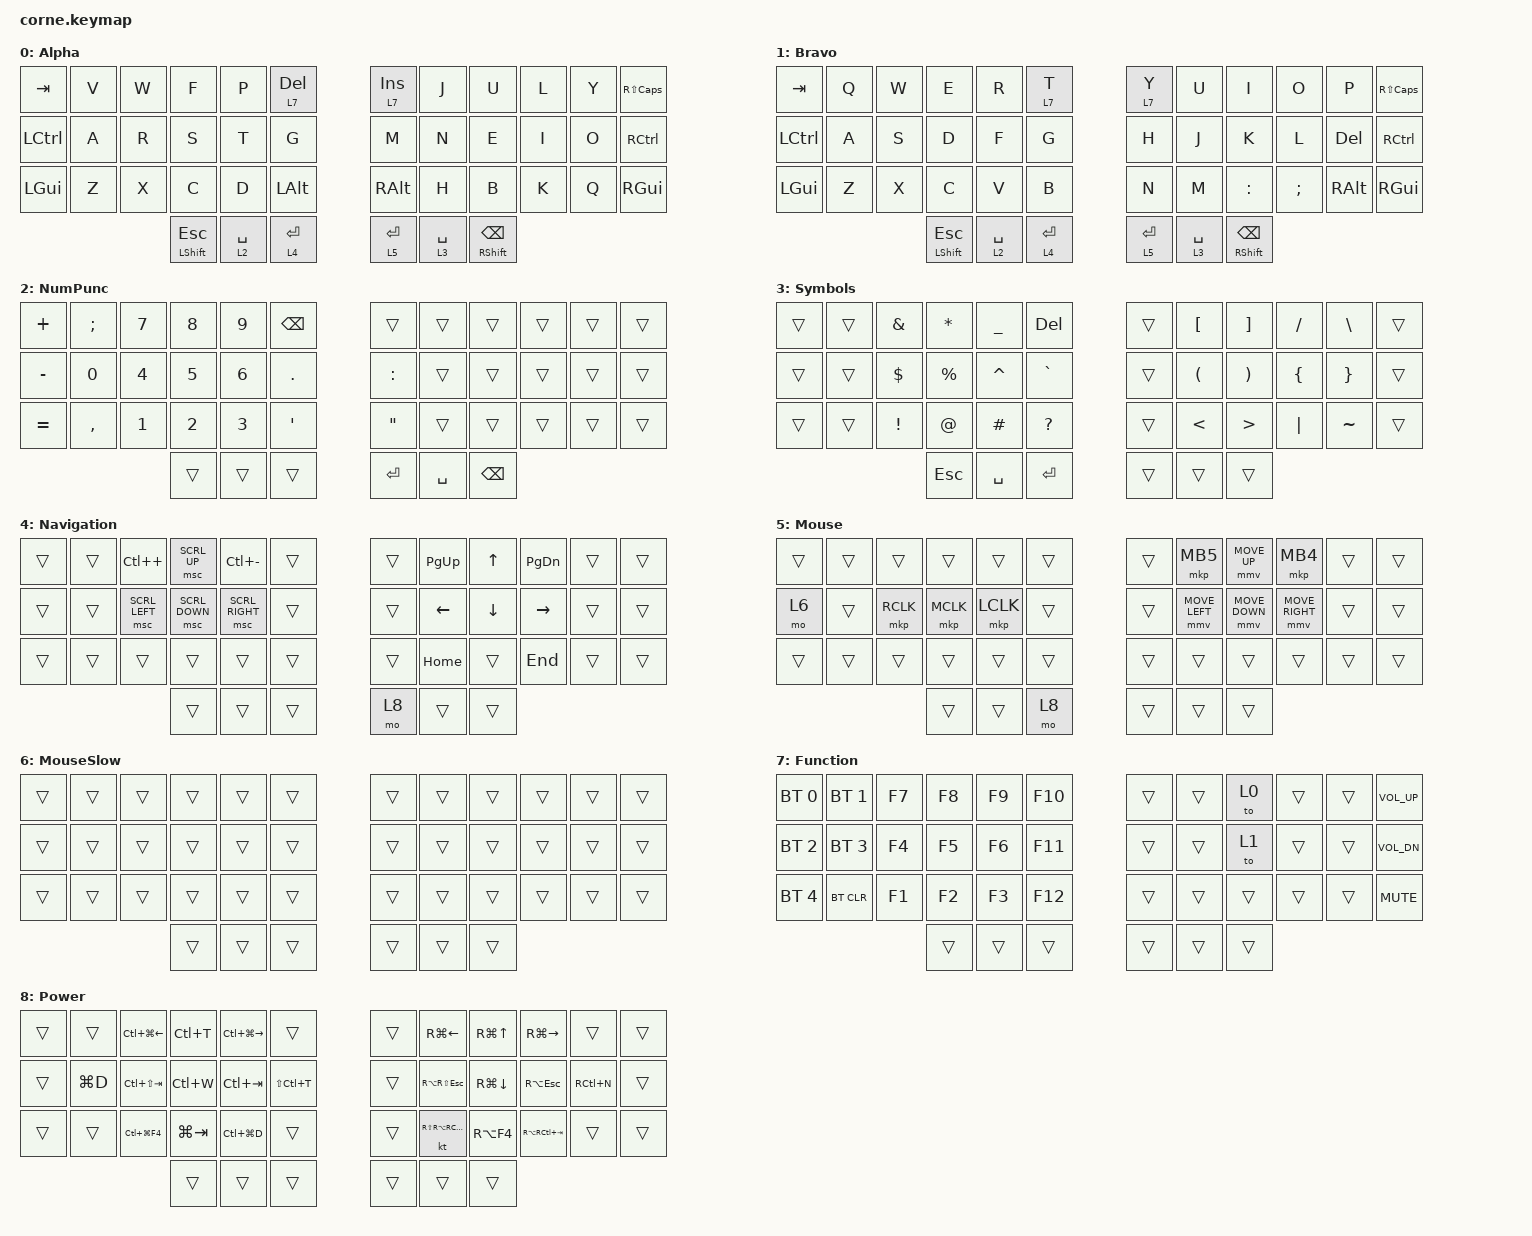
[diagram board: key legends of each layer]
/*
 * Copyright (c) 2020 The ZMK Contributors
 *
 * SPDX-License-Identifier: MIT
 */

#define ZMK_POINTING_DEFAULT_MOVE_VAL 1000  // default: 600
#define ZMK_POINTING_DEFAULT_SCRL_VAL  10    // default: 10
#define SLOW_LAYER 6
#define FAST_LAYER 2

#include <input/processors.dtsi>
#include <behaviors.dtsi>
#include <dt-bindings/zmk/bt.h>
#include <dt-bindings/zmk/keys.h>
#include <dt-bindings/zmk/pointing.h>

&mmv {
    x-input-code = <INPUT_REL_X>;
    y-input-code = <INPUT_REL_Y>;
    time-to-max-speed-ms = <1>;      // changed from 0 — see note below
    acceleration-exponent = <0>;
};

&msc {
    x-input-code = <INPUT_REL_HWHEEL>;
    y-input-code = <INPUT_REL_WHEEL>;
    time-to-max-speed-ms = <1>;      // changed from 0 — see note below
    acceleration-exponent = <0>;
};

&mmv_input_listener {
    input-processors = <&zip_xy_scaler 1 1>;

    slow_layer {
        layers = <SLOW_LAYER>;
        input-processors = <&zip_xy_scaler 1 4>;   // 0.25x speed
    };

    fast_layer {
        layers = <FAST_LAYER>;
        input-processors = <&zip_xy_scaler 3 2>;   // 1.5x speed
    };
};

/ {
    combos { compatible = "zmk,combos"; };

    keymap {
        compatible = "zmk,keymap";

        Alpha {
            bindings = <
&kp TAB           &kp V  &kp W  &kp F                  &kp P        &lt 7 DELETE    &lt 7 INSERT   &kp J        &kp U                      &kp L  &kp Y  &kp RS(CAPSLOCK)
&kp LEFT_CONTROL  &kp A  &kp R  &kp S                  &kp T        &kp G           &kp M          &kp N        &kp E                      &kp I  &kp O  &kp RIGHT_CONTROL
&kp LEFT_GUI      &kp Z  &kp X  &kp C                  &kp D        &kp LEFT_ALT    &kp RIGHT_ALT  &kp H        &kp B                      &kp K  &kp Q  &kp RIGHT_GUI
                                &mt LEFT_SHIFT ESCAPE  &lt 2 SPACE  &lt 4 ENTER     &lt 5 ENTER    &lt 3 SPACE  &mt RIGHT_SHIFT BACKSPACE
            >;
        };

        Bravo {
            bindings = <
&kp TAB           &kp Q  &kp W  &kp E                  &kp R        &lt 7 T        &lt 7 Y      &kp U        &kp I                      &kp O     &kp P          &kp RS(CAPSLOCK)
&kp LEFT_CONTROL  &kp A  &kp S  &kp D                  &kp F        &kp G          &kp H        &kp J        &kp K                      &kp L     &kp DELETE     &kp RIGHT_CONTROL
&kp LEFT_GUI      &kp Z  &kp X  &kp C                  &kp V        &kp B          &kp N        &kp M        &kp COLON                  &kp SEMI  &kp RIGHT_ALT  &kp RIGHT_GUI
                                &mt LEFT_SHIFT ESCAPE  &lt 2 SPACE  &lt 4 ENTER    &lt 5 ENTER  &lt 3 SPACE  &mt RIGHT_SHIFT BACKSPACE
            >;
        };

        NumPunc {
            bindings = <
&kp PLUS   &kp SEMICOLON  &kp NUMBER_7  &kp NUMBER_8  &kp NUMBER_9  &kp BACKSPACE       &trans             &trans     &trans         &trans  &trans  &trans
&kp MINUS  &kp NUMBER_0   &kp NUMBER_4  &kp NUMBER_5  &kp NUMBER_6  &kp PERIOD          &kp COLON          &trans     &trans         &trans  &trans  &trans
&kp EQUAL  &kp COMMA      &kp NUMBER_1  &kp NUMBER_2  &kp NUMBER_3  &kp SINGLE_QUOTE    &kp DOUBLE_QUOTES  &trans     &trans         &trans  &trans  &trans
                                        &trans        &trans        &trans              &kp ENTER          &kp SPACE  &kp BACKSPACE
            >;
        };

        Symbols {
            bindings = <
&trans  &trans  &kp AMPERSAND    &kp ASTERISK  &kp UNDERSCORE  &kp DELETE      &trans  &kp LEFT_BRACKET      &kp RIGHT_BRACKET      &kp SLASH       &kp BACKSLASH    &trans
&trans  &trans  &kp DOLLAR       &kp PERCENT   &kp CARET       &kp GRAVE       &trans  &kp LEFT_PARENTHESIS  &kp RIGHT_PARENTHESIS  &kp LEFT_BRACE  &kp RIGHT_BRACE  &trans
&trans  &trans  &kp EXCLAMATION  &kp AT_SIGN   &kp HASH        &kp QUESTION    &trans  &kp LESS_THAN         &kp GREATER_THAN       &kp PIPE        &kp TILDE        &trans
                                 &kp ESCAPE    &kp SPACE       &kp ENTER       &trans  &trans                &trans
            >;
        };

        Navigation {
            bindings = <
&trans  &trans  &kp LC(PLUS)    &msc SCRL_UP    &kp LC(MINUS)    &trans    &trans  &kp PAGE_UP  &kp UP_ARROW  &kp PAGE_DOWN  &trans  &trans
&trans  &trans  &msc SCRL_LEFT  &msc SCRL_DOWN  &msc SCRL_RIGHT  &trans    &trans  &kp LEFT     &kp DOWN      &kp RIGHT      &trans  &trans
&trans  &trans  &trans          &trans          &trans           &trans    &trans  &kp HOME     &trans        &kp END        &trans  &trans
                                &trans          &trans           &trans    &mo 8   &trans       &trans
            >;
        };

        Mouse {
            bindings = <
&trans  &trans  &trans     &trans     &trans     &trans    &trans  &mkp MB5        &mmv MOVE_UP    &mkp MB4         &trans  &trans
&mo 6   &trans  &mkp RCLK  &mkp MCLK  &mkp LCLK  &trans    &trans  &mmv MOVE_LEFT  &mmv MOVE_DOWN  &mmv MOVE_RIGHT  &trans  &trans
&trans  &trans  &trans     &trans     &trans     &trans    &trans  &trans          &trans          &trans           &trans  &trans
                           &trans     &trans     &mo 8     &trans  &trans          &trans
            >;
        };

        MouseSlow {
            bindings = <
&trans  &trans  &trans  &trans  &trans  &trans    &trans  &trans  &trans  &trans  &trans  &trans
&trans  &trans  &trans  &trans  &trans  &trans    &trans  &trans  &trans  &trans  &trans  &trans
&trans  &trans  &trans  &trans  &trans  &trans    &trans  &trans  &trans  &trans  &trans  &trans
                        &trans  &trans  &trans    &trans  &trans  &trans
            >;
        };

        Function {
            bindings = <
&bt BT_SEL 0  &bt BT_SEL 1  &kp F7  &kp F8  &kp F9  &kp F10    &trans  &trans  &to 0   &trans  &trans  &kp C_VOLUME_UP
&bt BT_SEL 2  &bt BT_SEL 3  &kp F4  &kp F5  &kp F6  &kp F11    &trans  &trans  &to 1   &trans  &trans  &kp C_VOL_DN
&bt BT_SEL 4  &bt BT_CLR    &kp F1  &kp F2  &kp F3  &kp F12    &trans  &trans  &trans  &trans  &trans  &kp C_MUTE
                                    &trans  &trans  &trans     &trans  &trans  &trans
            >;
        };

        Power {
            bindings = <
&trans  &trans     &kp LC(LG(LEFT_ARROW))  &kp LC(T)    &kp LC(LG(RIGHT_ARROW))  &trans           &trans  &kp RG(LEFT)         &kp RG(UP_ARROW)  &kp RG(RIGHT)    &trans     &trans
&trans  &kp LG(D)  &kp LC(LS(TAB))         &kp LC(W)    &kp LC(TAB)              &kp LS(LC(T))    &trans  &kp RA(RS(ESCAPE))   &kp RG(DOWN)      &kp RA(ESCAPE)   &kp RC(N)  &trans
&trans  &trans     &kp LC(LG(F4))          &kp LG(TAB)  &kp LC(LG(D))            &trans           &trans  &kt RS(RA(RC(TAB)))  &kp RA(F4)        &kp RA(RC(TAB))  &trans     &trans
                                           &trans       &trans                   &trans           &trans  &trans               &trans
            >;
        };

        extra1 { status = "reserved"; };

        extra2 { status = "reserved"; };
    };

    conditional_layers { compatible = "zmk,conditional-layers"; };
};
